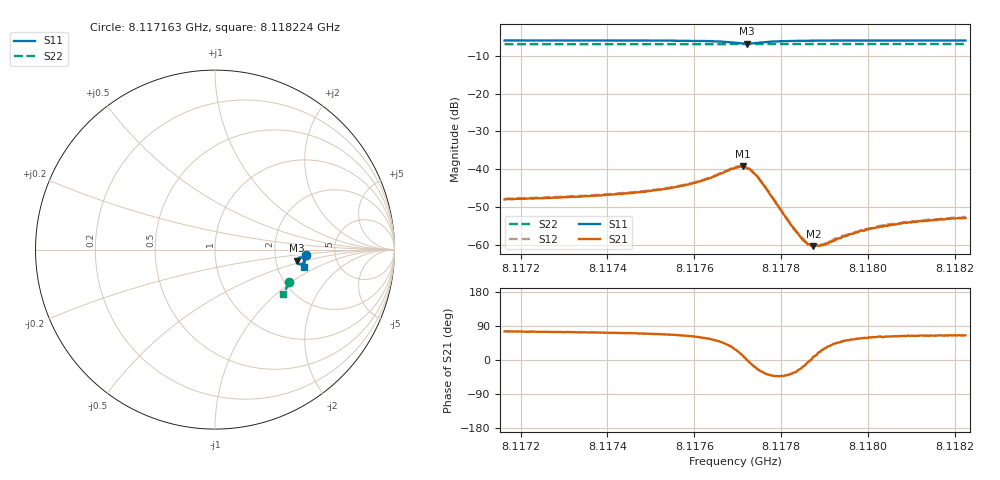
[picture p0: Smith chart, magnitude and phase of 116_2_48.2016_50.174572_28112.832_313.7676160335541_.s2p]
#  HZ  S  RI  R  50.00
! Rohde & Schwarz Vector Network Analyzer
! Rohde-Schwarz,ZNB20-2Port,1311601062101988,3.16
! Created: UTC 3/20/2024, 11:41:12 AM
! freq[Hz]  re:S11  im:S11  re:S21  im:S21  re:S12  im:S12  re:S22  im:S22
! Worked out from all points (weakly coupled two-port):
!   401 points, 8.117163 GHz to 8.118224 GHz, reference 50 ohm
!   highest |S21| = -39.25 dB at 8.117712 GHz (marker M1); lowest = -60.3 dB at 8.117874 GHz (marker M2)
!   lowest |S11| = -6.7 dB at 8.11772 GHz (marker M3), VSWR 2.70, Z = 131 - j20.4 ohm
!   |S11| at or under -10 dB: nowhere
!   |S22| runs from -6.9 to -6.9 dB; largest |S21 - S12| = 0.00049
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8.1171634e9  0.505 -0.0297  0.000982 0.00385  0.00104 0.00396  0.4137 -0.1802
8.117341e9  0.5033 -0.0445  0.00126 0.00417  0.00132 0.00425  0.4089 -0.1917
8.1174549e9  0.5016 -0.0552  0.00162 0.00458  0.00164 0.00467  0.4056 -0.1992
8.1175186e9  0.4996 -0.0619  0.00197 0.00499  0.00209 0.00502  0.404 -0.2032
8.1175689e9  0.4971 -0.0681  0.00255 0.00544  0.00262 0.00554  0.4022 -0.2066
8.1176113e9  0.4932 -0.0743  0.00342 0.006  0.00353 0.00607  0.4008 -0.2093
8.1176935e9  0.4652 -0.0798  0.00922 0.0049  0.00935 0.005  0.3971 -0.2142
8.117712e9  0.4565 -0.0682  0.0107 0.00206  0.0108 0.00199  0.3964 -0.2148
8.11772e9  0.4559 -0.0612  0.0104 0.0002  0.0107 6.51e-05  0.3961 -0.2148
8.1177333e9  0.4604 -0.0504  0.00904 -0.00212  0.00937 -0.00223  0.3961 -0.2152
8.1177492e9  0.4709 -0.0436  0.00664 -0.00329  0.00657 -0.00348  0.3962 -0.2159
8.1178154e9  0.4944 -0.0545  0.0016 -0.00133  0.00162 -0.00138  0.3952 -0.2206
8.1178446e9  0.497 -0.0602  0.00117 -0.000491  0.00118 -0.000507  0.3942 -0.2227
8.1178578e9  0.4975 -0.0625  0.00105 -0.000179  0.00107 -0.00019  0.3939 -0.2235
8.1178711e9  0.498 -0.0645  0.000967 7.09e-05  0.00101 6.23e-05  0.3935 -0.2244
8.1178737e9  0.4979 -0.0648  0.000952 0.000145  0.000961 0.000102  0.3934 -0.2246
8.1178976e9  0.4985 -0.0683  0.000876 0.000488  0.000878 0.000509  0.3926 -0.2261
8.1179241e9  0.4986 -0.0716  0.000855 0.000802  0.000902 0.000823  0.3918 -0.2279
8.1179797e9  0.4983 -0.0778  0.000829 0.00127  0.00083 0.00128  0.39 -0.2314
8.1180487e9  0.4976 -0.0844  0.000844 0.00159  0.000887 0.00165  0.3876 -0.2358
8.1181176e9  0.4967 -0.0906  0.000899 0.00185  0.000911 0.00186  0.3853 -0.2399
8.1182236e9  0.4952 -0.0994  0.000953 0.00205  0.00101 0.00208  0.3815 -0.2465
